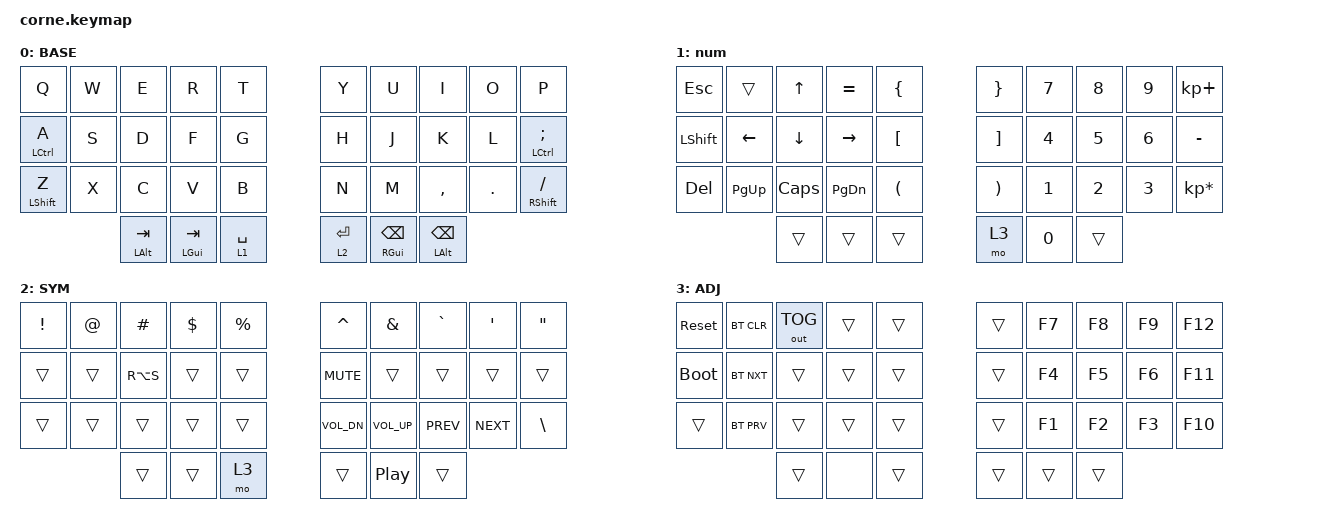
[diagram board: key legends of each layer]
/*
 * Copyright (c) 2020 The ZMK Contributors
 *
 * SPDX-License-Identifier: MIT
 */

#include <behaviors.dtsi>
#include <dt-bindings/zmk/bt.h>
#include <dt-bindings/zmk/keys.h>
#include <dt-bindings/zmk/outputs.h>

#define DEFAULT_L 0
#define BASE 0
#define NAV  1
#define SYM  2
#define ADJ  3

&mt { quick-tap-ms = <100>; };

/ {
    chosen { zmk,matrix_transform = &five_column_transform; };

    combos {
        compatible = "zmk,combos";

        macro_esc {
            bindings = <&kp ESC>;
            key-positions = <0 1>;
            timeout-ms = <50>;
        };

        layout {
            bindings = <&kp LC(BACKSLASH)>;
            key-positions = <13 16>;
        };
    };

    keymap {
        compatible = "zmk,keymap";

        base_layer {
            label = "BASE";
            bindings = <
  &kp Q        &kp W  &kp E         &kp R         &kp T          &kp Y      &kp U               &kp I               &kp O       &kp P
  &mt LCTRL A  &kp S  &kp D         &kp F         &kp G          &kp H      &kp J               &kp K               &kp L       &mt LCTRL SEMICOLON
  &mt LSHFT Z  &kp X  &kp C         &kp V         &kp B          &kp N      &kp M               &kp COMMA           &kp PERIOD  &mt RSHFT SLASH
                      &mt LALT TAB  &mt LGUI TAB  &lt 1 SPACE    &lt 2 RET  &mt RGUI BACKSPACE  &mt LALT BACKSPACE
            >;
        };

        nav_layer {
            label = "num";
            bindings = <
  &kp ESC    &trans     &kp UP        &kp EQUAL      &kp LBRC                &kp RBRC  &kp N7  &kp N8  &kp N9  &kp KP_PLUS
  &kp LSHFT  &kp LEFT   &kp DOWN      &kp RIGHT      &kp LBKT                &kp RBKT  &kp N4  &kp N5  &kp N6  &kp MINUS
  &kp DEL    &kp PG_UP  &kp CAPSLOCK  &kp PAGE_DOWN  &kp LEFT_PARENTHESIS    &kp RPAR  &kp N1  &kp N2  &kp N3  &kp KP_MULTIPLY
                        &trans        &trans         &trans                  &mo 3     &kp N0  &trans
            >;
        };

        sim_layer {
            label = "SYM";
            bindings = <
  &kp EXCL  &kp AT  &kp HASH   &kp DLLR  &kp PRCNT    &kp CARET     &kp AMPS      &kp GRAVE   &kp SQT     &kp DQT
  &trans    &trans  &kp RA(S)  &trans    &trans       &kp C_MUTE    &trans        &trans      &trans      &trans
  &trans    &trans  &trans     &trans    &trans       &kp C_VOL_DN  &kp C_VOL_UP  &kp C_PREV  &kp C_NEXT  &kp BSLH
                    &trans     &trans    &mo 3        &trans        &kp C_PP      &trans
            >;
        };

        adjust_layer {
            label = "ADJ";
            bindings = <
  &sys_reset   &bt BT_CLR  &out OUT_TOG  &trans  &trans    &trans  &kp F7  &kp F8  &kp F9  &kp F12
  &bootloader  &bt BT_NXT  &trans        &trans  &trans    &trans  &kp F4  &kp F5  &kp F6  &kp F11
  &trans       &bt BT_PRV  &trans        &trans  &trans    &trans  &kp F1  &kp F2  &kp F3  &kp F10
                           &trans        &none   &trans    &trans  &trans  &trans
            >;
        };
    };
};
